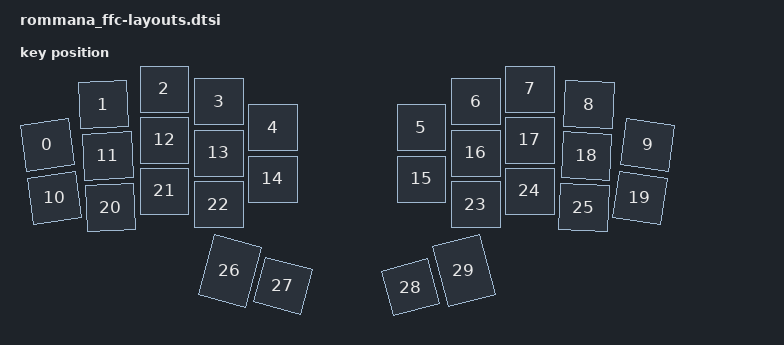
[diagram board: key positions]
#include <physical_layouts.dtsi>

/ {
    rommana_30_layout: layout_0 {
        compatible = "zmk,physical-layout";
        display-name = "30 Keys";

        keys  //                     w   h    x    y     rot    rx    ry
            = <&key_physical_attrs 105 100    0  112  (-800)    52   166>
            , <&key_physical_attrs 105 100  112   31  (-300)   169    81>
            , <&key_physical_attrs 105 100  234    0       0     0     0>
            , <&key_physical_attrs 105 100  343   25       0     0     0>
            , <&key_physical_attrs 105 100  451   77       0     0     0>
            , <&key_physical_attrs 105 100  748   77       0     0     0>
            , <&key_physical_attrs 105 100  857   25       0     0     0>
            , <&key_physical_attrs 105 100  965    0       0     0     0>
            , <&key_physical_attrs 105 100 1083   31     300  1136    81>
            , <&key_physical_attrs 105 100 1200  112     800  1253   166>
            , <&key_physical_attrs 105 100   14  218  (-800)    67   268>
            , <&key_physical_attrs 105 100  121  134  (-300)   174   184>
            , <&key_physical_attrs 105 100  234  102       0     0     0>
            , <&key_physical_attrs 105 100  343  128       0     0     0>
            , <&key_physical_attrs 105 100  451  180       0     0     0>
            , <&key_physical_attrs 105 100  748  180       0     0     0>
            , <&key_physical_attrs 105 100  857  128       0     0     0>
            , <&key_physical_attrs 105 100  965  102       0     0     0>
            , <&key_physical_attrs 105 100 1078  134     300  1131   184>
            , <&key_physical_attrs 105 100 1185  218     800  1238   268>
            , <&key_physical_attrs 105 100  126  237  (-300)   179   287>
            , <&key_physical_attrs 105 100  234  204       0     0     0>
            , <&key_physical_attrs 105 100  343  231       0     0     0>
            , <&key_physical_attrs 105 100  857  231       0     0     0>
            , <&key_physical_attrs 105 100  965  204       0     0     0>
            , <&key_physical_attrs 105 100 1073  237     300  1126   287>
            , <&key_physical_attrs 105 132  370  361    1500   470   400>
            , <&key_physical_attrs 105 100  479  386    1500   500   409>
            , <&key_physical_attrs 105 100  717  390 (-1500)   800   409>
            , <&key_physical_attrs 105 132  827  361 (-1500)   830   400>
            ;
    };

    rommana_position_map {
        compatible = "zmk,physical-layout-position-map";

        complete;

        thirty {
            physical-layout = <&rommana_30_layout>;
            positions
                = < 0  1  2  3  4  5  6  7  8  9>
                , <10 11 12 13 14 15 16 17 18 19>
                , <   20 21 22       23 24 25   >
                , <         26 27 28 29         >
                ;
        };
    };
};
